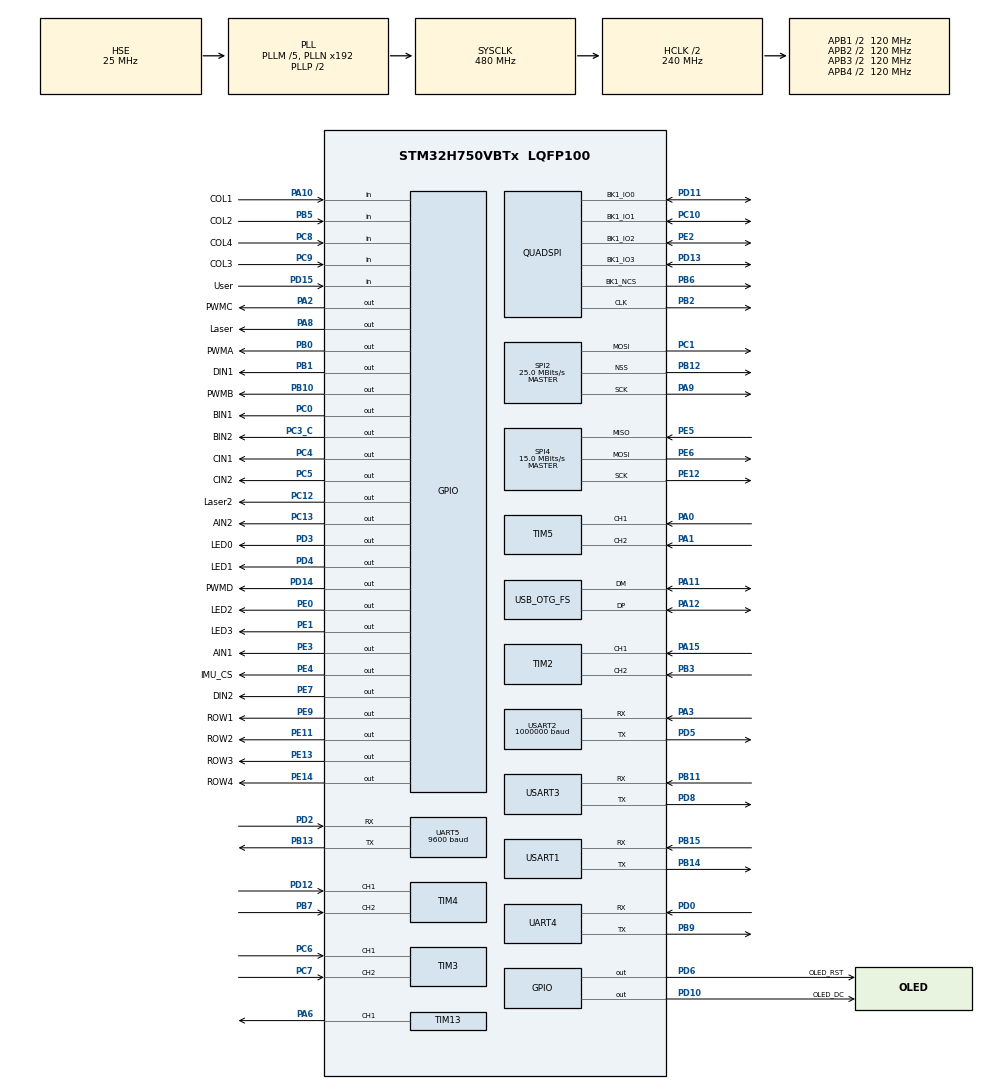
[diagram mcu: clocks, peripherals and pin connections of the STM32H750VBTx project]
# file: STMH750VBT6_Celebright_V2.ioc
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CORTEX_M7.default_mode_Activation=1
FREERTOS.BinarySemaphores01=semphr_buzzer_trigger,Dynamic,NULL,Available
FREERTOS.CountingSemaphores01=semphr_uart_receive,16,Dynamic,NULL,0
FREERTOS.INCLUDE_vTaskCleanUpResources=1
FREERTOS.Queues01=queue_key,1,char,0,Dynamic,NULL,NULL
FREERTOS.Tasks01=LEDBlink,32,128,Task_LEDBlink,Default,NULL,Static,LEDBlinkBuffer,LEDBlinkControlBlock;Broadcast,25,256,Task_Broadcast,Default,NULL,Static,BroadcastBuffer,BroadcastControlBlock;Uart4Handle,31,256,Task_Uart4Handle,Default,NULL,Static,UartHandleBuffer,UartHandleControlBlock;_9axisService,27,128,Task_9axisService,Default,NULL,Static,_9axisServiceBuffer,_9axisServiceControlBlock;CarAttitude,29,128,Task_CarAttitude,Default,NULL,Static,CarAttitudeBuffer,CarAttitudeControlBlock;Key,30,128,Task_Key,Default,NULL,Static,KeyBuffer,KeyControlBlock;Buzzer,25,128,Task_Buzzer,Default,NULL,Static,BuzzerBuffer,BuzzerControlBlock;Screen_LCD,25,128,Task_Screen,Default,NULL,Static,Screen_LCDBuffer,Screen_LCDControlBlock;todo,25,1024,Task_todo,Default,NULL,Static,todoBuffer,todoControlBlock;Uart3Handle,31,256,TaskUart3Handle,Default,NULL,Static,Uart3HandleBuffer,Uart3HandleControlBlock
FREERTOS.configMAX_TASK_NAME_LEN=32
FREERTOS.configQUEUE_REGISTRY_SIZE=10
FREERTOS.configTIMER_TASK_PRIORITY=55
FREERTOS.configTOTAL_HEAP_SIZE=81920
Mcu.Family=STM32H7
Mcu.Name=STM32H750VBTx
Mcu.Package=LQFP100
NVIC.PriorityGroup=NVIC_PRIORITYGROUP_4
NVIC.TIM6_DAC_IRQn=true\:5\:0\:false\:false\:true\:true\:true\:true\:true
NVIC.UART4_IRQn=true\:5\:0\:false\:false\:true\:true\:true\:true\:true
NVIC.USART3_IRQn=true\:5\:0\:false\:false\:true\:true\:true\:true\:true
PA0.Signal=S_TIM5_CH1
PA1.Signal=S_TIM5_CH2
PA10.GPIO_Label=COL1
PA10.GPIO_PuPd=GPIO_PULLUP
PA10.Signal=GPIO_Input
PA11.Mode=Device_Only
PA11.Signal=USB_OTG_FS_DM
PA12.Mode=Device_Only
PA12.Signal=USB_OTG_FS_DP
PA13\ (JTMS/SWDIO).Mode=Serial_Wire
PA13\ (JTMS/SWDIO).Signal=DEBUG_JTMS-SWDIO
PA14\ (JTCK/SWCLK).Mode=Serial_Wire
PA14\ (JTCK/SWCLK).Signal=DEBUG_JTCK-SWCLK
PA15\ (JTDI).Signal=S_TIM2_CH1_ETR
PA2.GPIO_Label=PWMC
PA2.GPIO_Speed=GPIO_SPEED_FREQ_VERY_HIGH
PA2.Signal=GPIO_Output
PA3.Mode=Asynchronous
PA3.Signal=USART2_RX
PA6.Signal=S_TIM13_CH1
PA8.GPIO_Label=Laser
PA8.Signal=GPIO_Output
PA9.Mode=TX_Only_Simplex_Unidirect_Master
PA9.Signal=SPI2_SCK
PB0.GPIO_Label=PWMA
PB0.GPIO_Speed=GPIO_SPEED_FREQ_VERY_HIGH
PB0.Signal=GPIO_Output
PB1.GPIO_Label=DIN1
PB1.GPIO_Speed=GPIO_SPEED_FREQ_HIGH
PB1.Signal=GPIO_Output
PB10.GPIO_Label=PWMB
PB10.GPIO_Speed=GPIO_SPEED_FREQ_VERY_HIGH
PB10.Signal=GPIO_Output
PB11.Mode=Asynchronous
PB11.Signal=USART3_RX
PB12.Mode=NSS_Signal_Hard_Output
PB12.Signal=SPI2_NSS
PB13.Mode=Asynchronous
PB13.Signal=UART5_TX
PB14.Mode=Asynchronous
PB14.Signal=USART1_TX
PB15.Mode=Asynchronous
PB15.Signal=USART1_RX
PB2.Mode=Single Bank 1
PB2.Signal=QUADSPI_CLK
PB3\ (JTDO/TRACESWO).Signal=S_TIM2_CH2
PB5.GPIO_Label=COL2
PB5.GPIO_PuPd=GPIO_PULLUP
PB5.Signal=GPIO_Input
PB6.Mode=Single Bank 1
PB6.Signal=QUADSPI_BK1_NCS
PB7.Signal=S_TIM4_CH2
PB9.Mode=Asynchronous
PB9.Signal=UART4_TX
PC0.GPIO_Label=BIN1
PC0.GPIO_Speed=GPIO_SPEED_FREQ_HIGH
PC0.Signal=GPIO_Output
PC1.Mode=TX_Only_Simplex_Unidirect_Master
PC1.Signal=SPI2_MOSI
PC10.Mode=Single Bank 1
PC10.Signal=QUADSPI_BK1_IO1
PC12.GPIO_Label=Laser2
PC12.Signal=GPIO_Output
PC13.GPIO_Label=AIN2
PC13.Signal=GPIO_Output
PC14-OSC32_IN\ (OSC32_IN).Mode=LSE-External-Oscillator
PC14-OSC32_IN\ (OSC32_IN).Signal=RCC_OSC32_IN
PC15-OSC32_OUT\ (OSC32_OUT).Mode=LSE-External-Oscillator
PC15-OSC32_OUT\ (OSC32_OUT).Signal=RCC_OSC32_OUT
PC3_C.GPIO_Label=BIN2
PC3_C.GPIO_Speed=GPIO_SPEED_FREQ_HIGH
PC3_C.Signal=GPIO_Output
PC4.GPIO_Label=CIN1
PC4.GPIO_Speed=GPIO_SPEED_FREQ_HIGH
PC4.Signal=GPIO_Output
PC5.GPIO_Label=CIN2
PC5.GPIO_Speed=GPIO_SPEED_FREQ_HIGH
PC5.Signal=GPIO_Output
PC6.Signal=S_TIM3_CH1
PC7.Signal=S_TIM3_CH2
PC8.GPIO_Label=COL4
PC8.GPIO_PuPd=GPIO_PULLUP
PC8.Signal=GPIO_Input
PC9.GPIO_Label=COL3
PC9.GPIO_PuPd=GPIO_PULLUP
PC9.Signal=GPIO_Input
PD0.Mode=Asynchronous
PD0.Signal=UART4_RX
PD10.GPIO_Label=OLED_DC
PD10.GPIO_Speed=GPIO_SPEED_FREQ_HIGH
PD10.Signal=GPIO_Output
PD11.Mode=Single Bank 1
PD11.Signal=QUADSPI_BK1_IO0
PD12.Signal=S_TIM4_CH1
PD13.Mode=Single Bank 1
PD13.Signal=QUADSPI_BK1_IO3
PD14.GPIO_Label=PWMD
PD14.GPIO_Speed=GPIO_SPEED_FREQ_VERY_HIGH
PD14.Signal=GPIO_Output
PD15.GPIO_Label=User
PD15.GPIO_PuPd=GPIO_PULLUP
PD15.Signal=GPIO_Input
PD2.Mode=Asynchronous
PD2.Signal=UART5_RX
PD3.GPIO_Label=LED0
PD3.GPIO_Speed=GPIO_SPEED_FREQ_LOW
PD3.Signal=GPIO_Output
PD4.GPIO_Label=LED1
PD4.Signal=GPIO_Output
PD5.Mode=Asynchronous
PD5.Signal=USART2_TX
PD6.GPIO_Label=OLED_RST
PD6.Signal=GPIO_Output
PD8.Mode=Asynchronous
PD8.Signal=USART3_TX
PE0.GPIO_Label=LED2
PE0.Signal=GPIO_Output
PE1.GPIO_Label=LED3
PE1.Signal=GPIO_Output
PE11.GPIO_Label=ROW2
PE11.GPIO_Speed=GPIO_SPEED_FREQ_VERY_HIGH
PE11.PinState=GPIO_PIN_SET
PE11.Signal=GPIO_Output
PE12.Mode=Full_Duplex_Master
PE12.Signal=SPI4_SCK
PE13.GPIO_Label=ROW3
PE13.GPIO_Speed=GPIO_SPEED_FREQ_VERY_HIGH
PE13.PinState=GPIO_PIN_SET
PE13.Signal=GPIO_Output
PE14.GPIO_Label=ROW4
PE14.GPIO_Speed=GPIO_SPEED_FREQ_VERY_HIGH
PE14.PinState=GPIO_PIN_SET
PE14.Signal=GPIO_Output
PE2.Mode=Single Bank 1
PE2.Signal=QUADSPI_BK1_IO2
PE3.GPIO_Label=AIN1
PE3.GPIO_Speed=GPIO_SPEED_FREQ_HIGH
PE3.Signal=GPIO_Output
PE4.GPIO_Label=IMU_CS
PE4.GPIO_Speed=GPIO_SPEED_FREQ_VERY_HIGH
PE4.Signal=GPIO_Output
PE5.Mode=Full_Duplex_Master
PE5.Signal=SPI4_MISO
PE6.Mode=Full_Duplex_Master
PE6.Signal=SPI4_MOSI
PE7.GPIO_Label=DIN2
PE7.GPIO_Speed=GPIO_SPEED_FREQ_HIGH
PE7.Signal=GPIO_Output
PE9.GPIO_Label=ROW1
PE9.GPIO_Speed=GPIO_SPEED_FREQ_VERY_HIGH
PE9.PinState=GPIO_PIN_SET
PE9.Signal=GPIO_Output
PH0-OSC_IN\ (PH0).Mode=HSE-External-Oscillator
PH0-OSC_IN\ (PH0).Signal=RCC_OSC_IN
PH1-OSC_OUT\ (PH1).Mode=HSE-External-Oscillator
PH1-OSC_OUT\ (PH1).Signal=RCC_OSC_OUT
ProjectManager.HeapSize=0x200
ProjectManager.StackSize=0x800
ProjectManager.TargetToolchain=MDK-ARM V5.32
RCC.ADCFreq_Value=200000000
RCC.APB1Freq_Value=120000000
RCC.APB2Freq_Value=120000000
RCC.APB3Freq_Value=120000000
RCC.APB4Freq_Value=120000000
RCC.CortexFreq_Value=480000000
RCC.D1PPRE=RCC_APB3_DIV2
RCC.D2PPRE1=RCC_APB1_DIV2
RCC.D2PPRE2=RCC_APB2_DIV2
RCC.D3PPRE=RCC_APB4_DIV2
RCC.DIVM1=5
RCC.DIVM2=5
RCC.DIVN1=192
RCC.DIVN2=80
RCC.DIVN3=80
RCC.EnbaleCSS=true
RCC.HCLKFreq_Value=240000000
RCC.HPRE=RCC_HCLK_DIV2
RCC.PLLSourceVirtual=RCC_PLLSOURCE_HSE
RCC.SPI123CLockSelection=RCC_SPI123CLKSOURCE_PLL2
RCC.SYSCLKFreq_VALUE=480000000
RCC.SYSCLKSource=RCC_SYSCLKSOURCE_PLLCLK
RCC.USBCLockSelection=RCC_USBCLKSOURCE_HSI48
RCC.USBFreq_Value=48000000
SH.S_TIM13_CH1.0=TIM13_CH1,PWM Generation1 CH1
SH.S_TIM2_CH1_ETR.0=TIM2_CH1,Encoder_Interface
SH.S_TIM2_CH2.0=TIM2_CH2,Encoder_Interface
SH.S_TIM3_CH1.0=TIM3_CH1,Encoder_Interface
SH.S_TIM3_CH2.0=TIM3_CH2,Encoder_Interface
SH.S_TIM4_CH1.0=TIM4_CH1,Encoder_Interface
SH.S_TIM4_CH2.0=TIM4_CH2,Encoder_Interface
SH.S_TIM5_CH1.0=TIM5_CH1,Encoder_Interface
SH.S_TIM5_CH2.0=TIM5_CH2,Encoder_Interface
SPI2.BaudRatePrescaler=SPI_BAUDRATEPRESCALER_8
SPI2.CalculateBaudRate=25.0 MBits/s
SPI2.DataSize=SPI_DATASIZE_8BIT
SPI2.Direction=SPI_DIRECTION_2LINES_TXONLY
SPI2.Mode=SPI_MODE_MASTER
SPI2.VirtualNSS=VM_NSSHARD
SPI2.VirtualType=VM_MASTER
SPI4.BaudRatePrescaler=SPI_BAUDRATEPRESCALER_8
SPI4.CLKPhase=SPI_PHASE_2EDGE
SPI4.CLKPolarity=SPI_POLARITY_HIGH
SPI4.CalculateBaudRate=15.0 MBits/s
SPI4.DataSize=SPI_DATASIZE_8BIT
SPI4.Direction=SPI_DIRECTION_2LINES
SPI4.Mode=SPI_MODE_MASTER
SPI4.VirtualType=VM_MASTER
TIM13.Channel=TIM_CHANNEL_1
TIM6.Period=9
TIM6.Prescaler=239
UART5.BaudRate=9600
USART1.VirtualMode-Asynchronous=VM_ASYNC
USART2.BaudRate=1000000
USART2.VirtualMode-Asynchronous=VM_ASYNC
USART3.VirtualMode-Asynchronous=VM_ASYNC
USB_OTG_FS.VirtualMode=Device_Only
VP_FREERTOS_VS_CMSIS_V2.Mode=CMSIS_V2
VP_MEMORYMAP_VS_MEMORYMAP.Mode=CurAppReg
VP_TIM13_VS_ClockSourceINT.Mode=Enable_Timer
VP_TIM6_VS_ClockSourceINT.Mode=Enable_Timer
board=custom

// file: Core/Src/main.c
/* USER CODE BEGIN Header */
/**
  ******************************************************************************
  * @file           : main.c
  * @brief          : Main program body
  ******************************************************************************
  * @attention
  *
  * Copyright (c) 2025 STMicroelectronics.
  * All rights reserved.
  *
  * This software is licensed under terms that can be found in the LICENSE file
  * in the root directory of this software component.
  * If no LICENSE file comes with this software, it is provided AS-IS.
  *
  ******************************************************************************
  */
/* USER CODE END Header */
#include "main.h"
#include "cmsis_os.h"
#include "memorymap.h"
#include "quadspi.h"
#include "spi.h"
#include "tim.h"
#include "usart.h"
#include "usb_otg.h"
#include "gpio.h"

/* USER CODE BEGIN Includes */
#include "Motor.h"
#include "lcd_model.h"
#include "uart_fifo.h"
#include "delay.h"
#include "IMU.h"
#include "car_control.h"
#include "car_attitude.h"
#include "car_control.h"
#include <../../SCSLib/SCServo.h>
#include "holder2D.h"
#include "roboticArm.h"
#include "ARobot.h"
#include "oled_spi_V0.2.h"
#include "oledpicture_V0.2.h"
#include "MusicPlayer.h"
#include "MusicScore.h"
/* USER CODE END Includes */

/* USER CODE BEGIN PD */
#define CPU_FREQ 480	//Unit:MHz;
#define To_cm 2.54/102
/* USER CODE END PD */

/* USER CODE BEGIN PV */
uint8_t cnt = 0;
uint32_t nowtime = 0;
float motion6[7];
float ypr[3];          // yaw pitch roll
int math_pl=0;
/* USER CODE END PV */

void SystemClock_Config(void);
static void MPU_Config(void);
void MX_FREERTOS_Init(void);

int main(void)
{

  /* MPU Configuration--------------------------------------------------------*/
  MPU_Config();

  /* MCU Configuration--------------------------------------------------------*/

  /* Reset of all peripherals, Initializes the Flash interface and the Systick. */
  HAL_Init();

  /* USER CODE BEGIN Init */
	init_motor();//电机初始化
  /* USER CODE END Init */

  /* Configure the system clock */
  SystemClock_Config();

  /* Initialize all configured peripherals */
  MX_GPIO_Init();
  MX_TIM2_Init();
  MX_TIM3_Init();
  MX_TIM4_Init();
  MX_TIM5_Init();
  MX_TIM6_Init();
  MX_USB_OTG_FS_PCD_Init();
  MX_QUADSPI_Init();
  MX_SPI4_Init();
  MX_TIM13_Init();
  MX_UART4_Init();
  MX_USART1_UART_Init();
  MX_SPI2_Init();
  MX_USART2_UART_Init();
  MX_USART3_UART_Init();
  MX_UART5_Init();
  /* USER CODE BEGIN 2 */
	OLED_Init();
  MusicPlayer_Init();
  HAL_Delay(1000);
  OLED_DrawBMP(9,0,119,8,Genshin);	//LOGO;
  HAL_Delay(1000);
  OLED_Clear();
	delay_init(CPU_FREQ);		//重新初始化延时函数，Parameter: CPU_FREQ
  IMU_init();
	HAL_Delay(1000);
  HAL_TIM_Encoder_Start(&htim2, TIM_CHANNEL_ALL); //开启TIM2编码器
  HAL_TIM_Encoder_Start(&htim3, TIM_CHANNEL_ALL); //开启TIM3编码器
  HAL_TIM_Encoder_Start(&htim4, TIM_CHANNEL_ALL); //开启TIM4编码器
  HAL_TIM_Encoder_Start(&htim5, TIM_CHANNEL_ALL); //开启TIM5编码器

  HAL_TIM_Base_Start_IT(&htim2);                  //开启TIM2更新中断
  HAL_TIM_Base_Start_IT(&htim3);                  //开启TIM3更新中断
  HAL_TIM_Base_Start_IT(&htim4);                  //开启TIM4更新中断
  HAL_TIM_Base_Start_IT(&htim5);                  //开启TIM5更新中断
	HAL_TIM_Base_Start_IT(&htim6);

  //小车控制初始化
	init_Car_Attitude();
	init_Car_Contorl();
	HAL_Delay(2000);
	printf("init ok");
	//setup_roboticArm();//机械臂初始化
	HAL_Delay(1000);
	//initArm();//机械臂位置初始化
	HAL_Delay(1000);
	//moveArm(150,200, 50);//移动机械臂
  /* USER CODE END 2 */

  /* Init scheduler */
  osKernelInitialize();

  /* Call init function for freertos objects (in cmsis_os2.c) */
  MX_FREERTOS_Init();

  /* Start scheduler */
  osKernelStart();

  /* We should never get here as control is now taken by the scheduler */

  /* Infinite loop */
  while (1)
  {

  }
}

void SystemClock_Config(void)
{
  RCC_OscInitTypeDef RCC_OscInitStruct = {0};
  RCC_ClkInitTypeDef RCC_ClkInitStruct = {0};

  /** Supply configuration update enable
  */
  HAL_PWREx_ConfigSupply(PWR_LDO_SUPPLY);

  /** Configure the main internal regulator output voltage
  */
  __HAL_PWR_VOLTAGESCALING_CONFIG(PWR_REGULATOR_VOLTAGE_SCALE0);

  while(!__HAL_PWR_GET_FLAG(PWR_FLAG_VOSRDY)) {}

  /** Initializes the RCC Oscillators according to the specified parameters
  * in the RCC_OscInitTypeDef structure.
  */
  RCC_OscInitStruct.OscillatorType = RCC_OSCILLATORTYPE_HSI48|RCC_OSCILLATORTYPE_HSE;
  RCC_OscInitStruct.HSEState = RCC_HSE_ON;
  RCC_OscInitStruct.HSI48State = RCC_HSI48_ON;
  RCC_OscInitStruct.PLL.PLLState = RCC_PLL_ON;
  RCC_OscInitStruct.PLL.PLLSource = RCC_PLLSOURCE_HSE;
  RCC_OscInitStruct.PLL.PLLM = 5;
  RCC_OscInitStruct.PLL.PLLN = 192;
  RCC_OscInitStruct.PLL.PLLP = 2;
  RCC_OscInitStruct.PLL.PLLQ = 2;
  RCC_OscInitStruct.PLL.PLLR = 2;
  RCC_OscInitStruct.PLL.PLLRGE = RCC_PLL1VCIRANGE_2;
  RCC_OscInitStruct.PLL.PLLVCOSEL = RCC_PLL1VCOWIDE;
  RCC_OscInitStruct.PLL.PLLFRACN = 0;
  if (HAL_RCC_OscConfig(&RCC_OscInitStruct) != HAL_OK)
  {
    Error_Handler();
  }

  /** Initializes the CPU, AHB and APB buses clocks
  */
  RCC_ClkInitStruct.ClockType = RCC_CLOCKTYPE_HCLK|RCC_CLOCKTYPE_SYSCLK
                              |RCC_CLOCKTYPE_PCLK1|RCC_CLOCKTYPE_PCLK2
                              |RCC_CLOCKTYPE_D3PCLK1|RCC_CLOCKTYPE_D1PCLK1;
  RCC_ClkInitStruct.SYSCLKSource = RCC_SYSCLKSOURCE_PLLCLK;
  RCC_ClkInitStruct.SYSCLKDivider = RCC_SYSCLK_DIV1;
  RCC_ClkInitStruct.AHBCLKDivider = RCC_HCLK_DIV2;
  RCC_ClkInitStruct.APB3CLKDivider = RCC_APB3_DIV2;
  RCC_ClkInitStruct.APB1CLKDivider = RCC_APB1_DIV2;
  RCC_ClkInitStruct.APB2CLKDivider = RCC_APB2_DIV2;
  RCC_ClkInitStruct.APB4CLKDivider = RCC_APB4_DIV2;

  if (HAL_RCC_ClockConfig(&RCC_ClkInitStruct, FLASH_LATENCY_4) != HAL_OK)
  {
    Error_Handler();
  }

  /** Enables the Clock Security System
  */
  HAL_RCC_EnableCSS();
}

/* USER CODE BEGIN 4 */
//FT舵机串口指令发送函数
void ftUart_Send(uint8_t *nDat , int nLen)
{
	HAL_UART_Transmit(&huart2, nDat, nLen, 100);
}

//FT舵机串口指令应答接收函数
int ftUart_Read(uint8_t *nDat, int nLen)
{
	if(HAL_OK!=HAL_UART_Receive(&huart2, nDat, nLen, 100)){
		return 0;
	}else{
		return nLen;
	}
}

//FT舵机总线切换延时，时间大于10us
void ftBus_Delay(void)
{
	HAL_Delay(1);
}
/* USER CODE END 4 */

 /* MPU Configuration */

void MPU_Config(void)
{
  MPU_Region_InitTypeDef MPU_InitStruct = {0};

  /* Disables the MPU */
  HAL_MPU_Disable();

  /** Initializes and configures the Region and the memory to be protected
  */
  MPU_InitStruct.Enable = MPU_REGION_ENABLE;
  MPU_InitStruct.Number = MPU_REGION_NUMBER0;
  MPU_InitStruct.BaseAddress = 0x0;
  MPU_InitStruct.Size = MPU_REGION_SIZE_4GB;
  MPU_InitStruct.SubRegionDisable = 0x87;
  MPU_InitStruct.TypeExtField = MPU_TEX_LEVEL0;
  MPU_InitStruct.AccessPermission = MPU_REGION_NO_ACCESS;
  MPU_InitStruct.DisableExec = MPU_INSTRUCTION_ACCESS_DISABLE;
  MPU_InitStruct.IsShareable = MPU_ACCESS_SHAREABLE;
  MPU_InitStruct.IsCacheable = MPU_ACCESS_NOT_CACHEABLE;
  MPU_InitStruct.IsBufferable = MPU_ACCESS_NOT_BUFFERABLE;

  HAL_MPU_ConfigRegion(&MPU_InitStruct);
  /* Enables the MPU */
  HAL_MPU_Enable(MPU_PRIVILEGED_DEFAULT);

}

void Error_Handler(void)
{
  __disable_irq();
  while (1)
  {
  }
}

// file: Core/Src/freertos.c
/* USER CODE BEGIN Header */
/**
  ******************************************************************************
  * File Name          : freertos.c
  * Description        : Code for freertos applications
  ******************************************************************************
  * @attention
  *
  * Copyright (c) 2025 STMicroelectronics.
  * All rights reserved.
  *
  * This software is licensed under terms that can be found in the LICENSE file
  * in the root directory of this software component.
  * If no LICENSE file comes with this software, it is provided AS-IS.
  *
  ******************************************************************************
  */
/* USER CODE END Header */

#include "FreeRTOS.h"
#include "task.h"
#include "main.h"
#include "cmsis_os.h"

/* USER CODE BEGIN Includes */
#include "IMU.h"
#include "motor.h"
#include "tim.h"
#include "spi.h"
#include "keyboard.h"
#include "config.h"
#include "car_attitude.h"
#include "car_control.h"
#include <../../SCSLib/SCServo.h>
#include "holder2D.h"
#include "roboticArm.h"
#include "ARobot.h"
#include "uart_fifo.h"
#include "oled_spi_V0.2.h"
#include "MusicPlayer.h"

/* USER CODE END Includes */

typedef StaticTask_t osStaticThreadDef_t;

/* USER CODE BEGIN Variables */
extern float motion6[7];
extern float ypr[3];          // yaw pitch roll
extern int math_pl;
QueueHandle_t uart3_frame_queue;
QueueHandle_t uart4_frame_queue;
TaskHandle_t xMotionTaskHandle = NULL;

/* USER CODE END Variables */
/* Definitions for LEDBlink */
osThreadId_t LEDBlinkHandle;
uint32_t LEDBlinkBuffer[ 128 ];
osStaticThreadDef_t LEDBlinkControlBlock;
const osThreadAttr_t LEDBlink_attributes = {
  .name = "LEDBlink",
  .cb_mem = &LEDBlinkControlBlock,
  .cb_size = sizeof(LEDBlinkControlBlock),
  .stack_mem = &LEDBlinkBuffer[0],
  .stack_size = sizeof(LEDBlinkBuffer),
  .priority = (osPriority_t) osPriorityAboveNormal,
};
/* Definitions for Broadcast */
osThreadId_t BroadcastHandle;
uint32_t BroadcastBuffer[ 256 ];
osStaticThreadDef_t BroadcastControlBlock;
const osThreadAttr_t Broadcast_attributes = {
  .name = "Broadcast",
  .cb_mem = &BroadcastControlBlock,
  .cb_size = sizeof(BroadcastControlBlock),
  .stack_mem = &BroadcastBuffer[0],
  .stack_size = sizeof(BroadcastBuffer),
  .priority = (osPriority_t) osPriorityNormal1,
};
/* Definitions for Uart4Handle */
osThreadId_t Uart4HandleHandle;
uint32_t UartHandleBuffer[ 256 ];
osStaticThreadDef_t UartHandleControlBlock;
const osThreadAttr_t Uart4Handle_attributes = {
  .name = "Uart4Handle",
  .cb_mem = &UartHandleControlBlock,
  .cb_size = sizeof(UartHandleControlBlock),
  .stack_mem = &UartHandleBuffer[0],
  .stack_size = sizeof(UartHandleBuffer),
  .priority = (osPriority_t) osPriorityNormal7,
};
/* Definitions for _9axisService */
osThreadId_t _9axisServiceHandle;
uint32_t _9axisServiceBuffer[ 128 ];
osStaticThreadDef_t _9axisServiceControlBlock;
const osThreadAttr_t _9axisService_attributes = {
  .name = "_9axisService",
  .cb_mem = &_9axisServiceControlBlock,
  .cb_size = sizeof(_9axisServiceControlBlock),
  .stack_mem = &_9axisServiceBuffer[0],
  .stack_size = sizeof(_9axisServiceBuffer),
  .priority = (osPriority_t) osPriorityNormal3,
};
/* Definitions for CarAttitude */
osThreadId_t CarAttitudeHandle;
uint32_t CarAttitudeBuffer[ 128 ];
osStaticThreadDef_t CarAttitudeControlBlock;
const osThreadAttr_t CarAttitude_attributes = {
  .name = "CarAttitude",
  .cb_mem = &CarAttitudeControlBlock,
  .cb_size = sizeof(CarAttitudeControlBlock),
  .stack_mem = &CarAttitudeBuffer[0],
  .stack_size = sizeof(CarAttitudeBuffer),
  .priority = (osPriority_t) osPriorityNormal5,
};
/* Definitions for Key */
osThreadId_t KeyHandle;
uint32_t KeyBuffer[ 128 ];
osStaticThreadDef_t KeyControlBlock;
const osThreadAttr_t Key_attributes = {
  .name = "Key",
  .cb_mem = &KeyControlBlock,
  .cb_size = sizeof(KeyControlBlock),
  .stack_mem = &KeyBuffer[0],
  .stack_size = sizeof(KeyBuffer),
  .priority = (osPriority_t) osPriorityNormal6,
};
/* Definitions for Buzzer */
osThreadId_t BuzzerHandle;
uint32_t BuzzerBuffer[ 128 ];
osStaticThreadDef_t BuzzerControlBlock;
const osThreadAttr_t Buzzer_attributes = {
  .name = "Buzzer",
  .cb_mem = &BuzzerControlBlock,
  .cb_size = sizeof(BuzzerControlBlock),
  .stack_mem = &BuzzerBuffer[0],
  .stack_size = sizeof(BuzzerBuffer),
  .priority = (osPriority_t) osPriorityNormal1,
};
/* Definitions for Screen_LCD */
osThreadId_t Screen_LCDHandle;
uint32_t Screen_LCDBuffer[ 128 ];
osStaticThreadDef_t Screen_LCDControlBlock;
const osThreadAttr_t Screen_LCD_attributes = {
  .name = "Screen_LCD",
  .cb_mem = &Screen_LCDControlBlock,
  .cb_size = sizeof(Screen_LCDControlBlock),
  .stack_mem = &Screen_LCDBuffer[0],
  .stack_size = sizeof(Screen_LCDBuffer),
  .priority = (osPriority_t) osPriorityNormal1,
};
/* Definitions for todo */
osThreadId_t todoHandle;
uint32_t todoBuffer[ 1024 ];
osStaticThreadDef_t todoControlBlock;
const osThreadAttr_t todo_attributes = {
  .name = "todo",
  .cb_mem = &todoControlBlock,
  .cb_size = sizeof(todoControlBlock),
  .stack_mem = &todoBuffer[0],
  .stack_size = sizeof(todoBuffer),
  .priority = (osPriority_t) osPriorityNormal1,
};
/* Definitions for Uart3Handle */
osThreadId_t Uart3HandleHandle;
uint32_t Uart3HandleBuffer[ 256 ];
osStaticThreadDef_t Uart3HandleControlBlock;
const osThreadAttr_t Uart3Handle_attributes = {
  .name = "Uart3Handle",
  .cb_mem = &Uart3HandleControlBlock,
  .cb_size = sizeof(Uart3HandleControlBlock),
  .stack_mem = &Uart3HandleBuffer[0],
  .stack_size = sizeof(Uart3HandleBuffer),
  .priority = (osPriority_t) osPriorityNormal7,
};
/* Definitions for queue_key */
osMessageQueueId_t queue_keyHandle;
const osMessageQueueAttr_t queue_key_attributes = {
  .name = "queue_key"
};
/* Definitions for semphr_buzzer_trigger */
osSemaphoreId_t semphr_buzzer_triggerHandle;
const osSemaphoreAttr_t semphr_buzzer_trigger_attributes = {
  .name = "semphr_buzzer_trigger"
};
/* Definitions for semphr_uart_receive */
osSemaphoreId_t semphr_uart_receiveHandle;
const osSemaphoreAttr_t semphr_uart_receive_attributes = {
  .name = "semphr_uart_receive"
};

/* USER CODE BEGIN FunctionPrototypes */
void Task_APP();
void Task_24H_1();
void Task_24H_2();
void Task_24H_3();
void Task_24H_4();
/* USER CODE END FunctionPrototypes */

void Task_LEDBlink(void *argument);
void Task_Broadcast(void *argument);
void Task_Uart4Handle(void *argument);
void Task_9axisService(void *argument);
void Task_CarAttitude(void *argument);
void Task_Key(void *argument);
void Task_Buzzer(void *argument);
void Task_Screen(void *argument);
void Task_todo(void *argument);
void TaskUart3Handle(void *argument);

void MX_FREERTOS_Init(void); /* (MISRA C 2004 rule 8.1) */

void MX_FREERTOS_Init(void) {

  /* Create the semaphores(s) */
  /* creation of semphr_buzzer_trigger */
  semphr_buzzer_triggerHandle = osSemaphoreNew(1, 1, &semphr_buzzer_trigger_attributes);

  /* creation of semphr_uart_receive */
  semphr_uart_receiveHandle = osSemaphoreNew(16, 0, &semphr_uart_receive_attributes);

  /* Create the queue(s) */
  /* creation of queue_key */
  queue_keyHandle = osMessageQueueNew (1, sizeof(char), &queue_key_attributes);

  /* USER CODE BEGIN RTOS_QUEUES */
	uart3_frame_queue = xQueueCreate(5, UART_FRAME_MAX_LEN); // 最多缓存5帧，每帧64字节
	uart4_frame_queue = xQueueCreate(5, UART_FRAME_MAX_LEN); // 最多缓存5帧，每帧64字节
  /* add queues, ... */
  /* USER CODE END RTOS_QUEUES */

  /* Create the thread(s) */
  /* creation of LEDBlink */
  LEDBlinkHandle = osThreadNew(Task_LEDBlink, NULL, &LEDBlink_attributes);

  /* creation of Broadcast */
  BroadcastHandle = osThreadNew(Task_Broadcast, NULL, &Broadcast_attributes);

  /* creation of Uart4Handle */
  Uart4HandleHandle = osThreadNew(Task_Uart4Handle, NULL, &Uart4Handle_attributes);

  /* creation of _9axisService */
  _9axisServiceHandle = osThreadNew(Task_9axisService, NULL, &_9axisService_attributes);

  /* creation of CarAttitude */
  CarAttitudeHandle = osThreadNew(Task_CarAttitude, NULL, &CarAttitude_attributes);

  /* creation of Key */
  KeyHandle = osThreadNew(Task_Key, NULL, &Key_attributes);

  /* creation of Buzzer */
  BuzzerHandle = osThreadNew(Task_Buzzer, NULL, &Buzzer_attributes);

  /* creation of Screen_LCD */
  Screen_LCDHandle = osThreadNew(Task_Screen, NULL, &Screen_LCD_attributes);

  /* creation of todo */
  todoHandle = osThreadNew(Task_todo, NULL, &todo_attributes);

  /* creation of Uart3Handle */
  Uart3HandleHandle = osThreadNew(TaskUart3Handle, NULL, &Uart3Handle_attributes);

  /* USER CODE BEGIN RTOS_THREADS */
	Key_StartScanTask();
	xTaskCreate(Task_APP,"Test",512,NULL,(osPriority_t) osPriorityNormal5,NULL);
	//xTaskCreate(Task_exam_24H,"24_H",512,NULL,(osPriority_t) osPriorityNormal5,NULL);
  /* add threads, ... */
  /* USER CODE END RTOS_THREADS */

}

void Task_LEDBlink(void *argument)
{
  /* USER CODE BEGIN Task_LEDBlink */
  /* Infinite loop */
  for(;;)
  {
		HAL_GPIO_TogglePin(LED0_GPIO_Port, LED0_Pin);
    osDelay(1000);
  }
  /* USER CODE END Task_LEDBlink */
}

void Task_Broadcast(void *argument)
{
  /* USER CODE BEGIN Task_Broadcast */
  /* Infinite loop */
  for(;;)
  {
		char buf[64];

		char* msg = "HelloFromStation\n";
		HAL_UART_Transmit(&huart4, (uint8_t*)msg, strlen(msg), 100);//Send To BT

    osDelay(50);
  }
  /* USER CODE END Task_Broadcast */
}

void Task_Uart4Handle(void *argument)
{
  /* USER CODE BEGIN Task_Uart4Handle */
  char frame[UART_FRAME_MAX_LEN];

    /* Infinite loop */
    for(;;)
    {
        memset(frame, 0, sizeof(frame));
        // 从队列拿到一帧数据（由中断回调送入队列）
        if (xQueueReceive(uart4_frame_queue, frame, portMAX_DELAY) == pdPASS) {
						// Todo:解析帧数据

        }
    }
  /* USER CODE END Task_Uart4Handle */
}

void Task_9axisService(void *argument)
{
  /* USER CODE BEGIN Task_9axisService */
	TickType_t xLastWakeTime;
	const TickType_t xFrequency = TASK_ITV_IMU;
	xLastWakeTime = xTaskGetTickCount();
  /* Infinite loop */
  for(;;)
  {
		vTaskDelayUntil( &xLastWakeTime, xFrequency );
	  uint8_t data[8] = {1,2,3,4,5,6,7,8};
	  IMU_getYawPitchRoll(ypr);
		IMU_TT_getgyro(motion6);
		Car_Attitude_Update_Input();
		math_pl++;
  }
  /* USER CODE END Task_9axisService */
}

void Task_CarAttitude(void *argument)
{
  /* USER CODE BEGIN Task_CarAttitude */
	TickType_t xLastWakeTime;
	const TickType_t xFrequency = TASK_ITV_CAR;
	xLastWakeTime = xTaskGetTickCount();
  /* Infinite loop */
  for(;;)
  {
		vTaskDelayUntil( &xLastWakeTime, xFrequency );
		Tim_Update_Enc_Speed();//更新编码器速度
 	  Motor_Update_Input_All();
		Car_Attitude_Update_Input();
		Car_Control_Update_Input();
		Car_Control_Update_Output();
		Car_Attitude_Update_Output();
 		Motor_Update_Output_All();
  }
  /* USER CODE END Task_CarAttitude */
}

void Task_Key(void *argument)
{
    char key;

    for(;;)
    {
				if (xQueueReceive(queue_keyHandle, &key, portMAX_DELAY)) {
					OLED_ShowChar(0, 0, key);
          //Todo: 处理按键事件
					if(key == '1')
						xTaskCreate(Task_24H_1,"Task_24_H_1",512,NULL,(osPriority_t) osPriorityNormal5,NULL);
					if(key == '2')
						xTaskCreate(Task_24H_2,"Task_24_H_2",512,NULL,(osPriority_t) osPriorityNormal5,NULL);
					if(key == '3')
						xTaskCreate(Task_24H_3,"Task_24_H_3",512,NULL,(osPriority_t) osPriorityNormal5,NULL);
					if(key == '4')
						xTaskCreate(Task_24H_4,"Task_24_H_4",512,NULL,(osPriority_t) osPriorityNormal5,NULL);
				}

        osDelay(1);
    }
}

void Task_Buzzer(void *argument)
{
  /* USER CODE BEGIN Task_Buzzer */
  /* Infinite loop */
  for(;;)
  {
    //PlayNote(M1, 100); // 播放音符 M1，持续时间 100ms
    osDelay(1);
  }
  /* USER CODE END Task_Buzzer */
}

void Task_Screen(void *argument)
{
  /* USER CODE BEGIN Task_Screen */
  /* Infinite loop */
  for(;;)
  {
		OLED_ShowString(0, 0, "Hello World!");
    osDelay(100);
  }
  /* USER CODE END Task_Screen */
}

void Task_todo(void *argument)
{
  /* USER CODE BEGIN Task_todo */

	for(;;)
	{
    // 这里可以添加一些待办事项的处理逻辑
			osDelay(50);
	}
  /* USER CODE END Task_todo */
}

void TaskUart3Handle(void *argument)
{
  /* USER CODE BEGIN TaskUart3Handle */
  char frame[UART_FRAME_MAX_LEN];

    /* Infinite loop */
    for(;;)
    {
        memset(frame, 0, sizeof(frame));
        // 从队列拿到一帧数据（由中断回调送入队列）
        if (xQueueReceive(uart3_frame_queue, frame, portMAX_DELAY) == pdPASS) {
            // 处理接收到的帧数据
        }
    }
  /* USER CODE END TaskUart3Handle */
}

/* USER CODE BEGIN Application */

void Task_APP()
{
		uart_frame_rx_init();
    // 初始化机械臂
    //setup_roboticArm();
    // 初始化机械臂位置
    //init_ArmForRTOS();
    // 移动机械臂到指定位置
    //moveArmForRTOS(150, 200, 50);
		vTaskDelete(NULL);//删除当前任务
}

void Task_24H_1()
{
		osDelay(1000);
		Set_Car_Control(1000, 0, 0);
		osDelay(3000);
		vTaskDelete(NULL);//删除当前任务
}

void Task_24H_2()
{
		osDelay(1000);
		Set_Car_Control(1000, 0, 0);
		osDelay(3000);
		Set_Car_Control(0, 400, -180);
		osDelay(5000);
		Set_Car_Control(1000, 0, 0);
		osDelay(3000);
		Set_Car_Control(0, 400, -180);
		osDelay(4000);
		vTaskDelete(NULL);//删除当前任务
}

void Task_24H_3()
{
//		osDelay(1000);
//		Set_Car_Control(0, 400, -90);
//		osDelay(3000);
//		Set_Car_Control(0, 400, 90);
//		osDelay(3000);
//		Set_Car_Control(200, 0, 0);
//		osDelay(2000);//A到C
//		Set_Car_Control(0, 400, 180);
//		osDelay(5000);//第一个半圆
//		Set_Car_Control(0, 400, 90);
//		osDelay(3000);
//		Set_Car_Control(0, 400, -90);
//		osDelay(3000);
//		Set_Car_Control(200, 0, 0);
//		osDelay(2000);//B到D
//		Set_Car_Control(0, 400, -180);
//		osDelay(5000);//第二个半圆
		osDelay(1000);
		Set_Car_Control(500, 0, 0);
		osDelay(2000);
		Set_Car_Control_Absolute(0, 0, 270);
		while(!car_control.oprate_done) osDelay(100);
		Set_Car_Control(800, 0, 0);
		osDelay(3000);
		Set_Car_Control_Absolute(0, 0, 0);
		while(!car_control.oprate_done) osDelay(100);
		Set_Car_Control(500, 0, 0);
		osDelay(2000);//A到C
		Set_Car_Control(0, 400, 178);
		osDelay(5000);//第一个半圆
		Set_Car_Control(500, 0, 0);
		osDelay(2000);
		Set_Car_Control_Absolute(0, 0, 270);
		while(!car_control.oprate_done) osDelay(100);
		Set_Car_Control(750, 0, 0);
		osDelay(3000);
		Set_Car_Control_Absolute(0, 0, -180);
		while(!car_control.oprate_done) osDelay(100);
		Set_Car_Control(550, 0, 0);
		osDelay(2000);//B到D
		Set_Car_Control(0, 400, -180);
		osDelay(5000);//第二个半圆
		vTaskDelete(NULL);//删除当前任务
}

void Task_24H_4()
{

	for(int i = 0;i < 4; i++) {
//		osDelay(1000);
//		Set_Car_Control(0, 400, -90);
//		osDelay(3000);
//		Set_Car_Control(0, 400, 90);
//		osDelay(3000);
//		Set_Car_Control(200, 0, 0);
//		osDelay(2000);//A到C
//		Set_Car_Control(0, 400, 180);
//		osDelay(5000);//第一个半圆
//		Set_Car_Control(0, 400, 90);
//		osDelay(3000);
//		Set_Car_Control(0, 400, -90);
//		osDelay(3000);
//		Set_Car_Control(200, 0, 0);
//		osDelay(2000);//B到D
//		Set_Car_Control(0, 400, -180);
//		osDelay(5000);//第二个半圆
		osDelay(1000);
		Set_Car_Control(500, 0, 0);
		osDelay(2000);
		Set_Car_Control_Absolute(0, 0, 270);
		while(!car_control.oprate_done) osDelay(100);
		Set_Car_Control(800, 0, 0);
		osDelay(3000);
		Set_Car_Control_Absolute(0, 0, 0);
		while(!car_control.oprate_done) osDelay(100);
		Set_Car_Control(500, 0, 0);
		osDelay(2000);//A到C
		Set_Car_Control(0, 400, 178);
		osDelay(5000);//第一个半圆
		Set_Car_Control(500, 0, 0);
		osDelay(2000);
		Set_Car_Control_Absolute(0, 0, 270);
		while(!car_control.oprate_done) osDelay(100);
		Set_Car_Control(750, 0, 0);
		osDelay(3000);
		Set_Car_Control_Absolute(0, 0, -180);
		while(!car_control.oprate_done) osDelay(100);
		Set_Car_Control(550, 0, 0);
		osDelay(2000);//B到D
		Set_Car_Control(0, 400, -180);
		osDelay(5000);//第二个半圆
	}
		vTaskDelete(NULL);//删除当前任务
}

/* USER CODE END Application */
